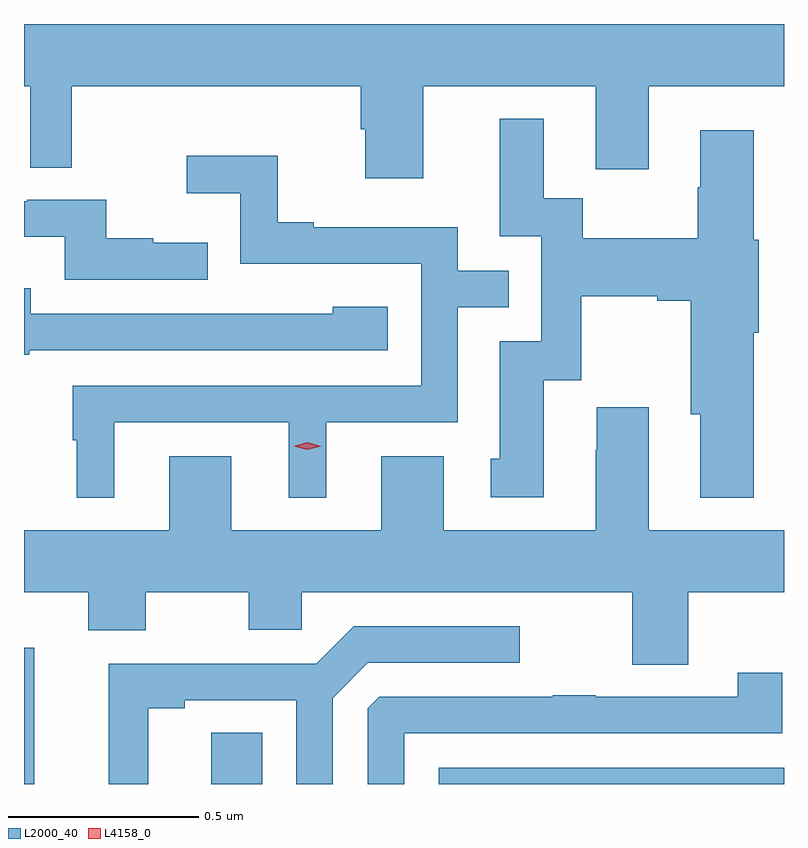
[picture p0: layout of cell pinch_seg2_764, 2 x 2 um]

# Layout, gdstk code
import gdstk
lib = gdstk.Library(unit=1e-6, precision=1e-09)
def R(c, l, rs):  # rectangles x0, y0, x1, y1
    for r in rs: c.add(gdstk.rectangle(r[:2], r[2:], *l))
def P(c, l, *ps):  # polygons
    for p in ps: c.add(gdstk.Polygon(p, *l))
L2000_40 = (2000, 40)
L4158_0 = (4158, 0)

pinch_seg2_764 = lib.new_cell('pinch_seg2_764')
R(pinch_seg2_764, L2000_40, [(849.253,655.124,849.28,655.483), (849.746,655.124,849.88,655.259), (850.344,655.124,851.253,655.167)])
P(pinch_seg2_764, L2000_40, [(850.303,656.96),(850.757,656.96),(850.757,656.742),(850.897,656.742),(850.897,656.96),(851.253,656.96),(851.253,657.124),(849.253,657.124),(849.253,656.96),(849.27,656.96),(849.27,656.746),(849.379,656.746),(849.379,656.96),(850.139,656.96),(850.139,656.847),(850.151,656.847),(850.151,656.718),(850.303,656.718)],
  [(851.173,656.312),(851.186,656.312),(851.186,656.556),(851.173,656.556),(851.173,656.845),(851.033,656.845),(851.033,656.694),(851.026,656.694),(851.026,656.56),(850.723,656.56),(850.723,656.666),(850.621,656.666),(850.621,656.875),(850.505,656.875),(850.505,656.565),(850.614,656.565),(850.614,656.289),(850.505,656.289),(850.505,655.98),(850.481,655.98),(850.481,655.878),(850.621,655.878),(850.621,656.186),(850.719,656.186),(850.719,656.408),(850.919,656.408),(850.919,656.396),(851.008,656.396),(851.008,656.097),(851.033,656.097),(851.033,655.877),(851.173,655.877)],
  [(849.49,656.076),(849.95,656.076),(849.95,655.877),(850.048,655.877),(850.048,656.076),(850.395,656.076),(850.395,656.379),(850.529,656.379),(850.529,656.475),(850.395,656.475),(850.395,656.589),(850.015,656.589),(850.015,656.602),(849.921,656.602),(849.921,656.777),(849.681,656.777),(849.681,656.678),(849.822,656.678),(849.822,656.493),(850.299,656.493),(850.299,656.172),(849.381,656.172),(849.381,656.028),(849.392,656.028),(849.392,655.877),(849.49,655.877)],
  [(849.737,656.548),(849.593,656.548),(849.593,656.56),(849.47,656.56),(849.47,656.661),(849.262,656.661),(849.262,656.658),(849.253,656.658),(849.253,656.564),(849.36,656.564),(849.36,656.451),(849.737,656.451)],
  [(849.267,656.265),(850.21,656.265),(850.21,656.38),(850.065,656.38),(850.065,656.362),(849.829,656.362),(849.829,656.361),(849.271,656.361),(849.271,656.428),(849.253,656.428),(849.253,656.253),(849.267,656.253)],
  [(851.001,655.628),(851.253,655.628),(851.253,655.792),(850.897,655.792),(850.897,656.116),(850.76,656.116),(850.76,656.003),(850.757,656.003),(850.757,655.792),(850.357,655.792),(850.357,655.987),(850.193,655.987),(850.193,655.792),(849.799,655.792),(849.799,655.987),(849.635,655.987),(849.635,655.792),(849.253,655.792),(849.253,655.628),(849.422,655.628),(849.422,655.529),(849.574,655.529),(849.574,655.628),(849.845,655.628),(849.845,655.53),(849.984,655.53),(849.984,655.628),(850.853,655.628),(850.853,655.438),(851.001,655.438)],
  [(849.58,655.324),(849.676,655.324),(849.676,655.344),(849.969,655.344),(849.969,655.124),(850.065,655.124),(850.065,655.35),(850.158,655.443),(850.558,655.443),(850.558,655.539),(850.121,655.539),(850.022,655.44),(849.476,655.44),(849.476,655.124),(849.58,655.124)],
  [(850.254,655.257),(851.249,655.257),(851.249,655.417),(851.131,655.417),(851.131,655.353),(850.757,655.353),(850.757,655.358),(850.645,655.358),(850.645,655.353),(850.188,655.353),(850.158,655.323),(850.158,655.124),(850.254,655.124)])
P(pinch_seg2_764, L4158_0, [(849.999,656.003),(849.963,656.013),(849.963,656.013),(849.963,656.013),(849.999,656.023),(850.035,656.013),(850.035,656.013),(850.035,656.013)])

lib.write_gds('pinch_seg2_764.gds')
